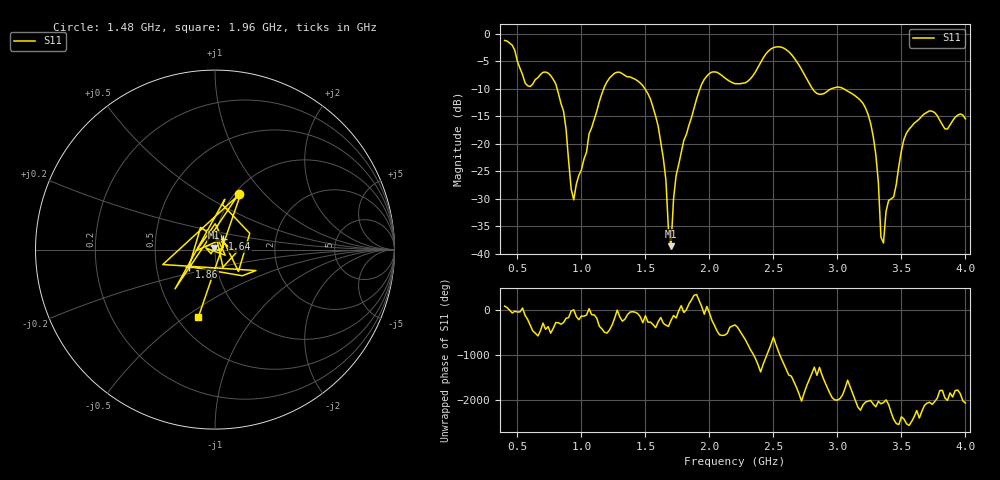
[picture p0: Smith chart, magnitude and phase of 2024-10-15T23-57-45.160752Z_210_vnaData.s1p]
! Created with skrf (http://scikit-rf.org).
# Hz S RI R 50.0
!freq ReS11 ImS11
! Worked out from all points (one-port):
!   181 points, 400 MHz to 4 GHz, reference 50 ohm
!   lowest |S11| = -38.6 dB at 1.7 GHz (marker M1), VSWR 1.02, Z = 49.4 + j1.01 ohm
!   |S11| at or under -10 dB: 810.5 MHz to 1.174 GHz (363.3 MHz wide, 36.6 % of centre); 1.497 GHz to 1.926 GHz (429.5 MHz wide, 25.1 % of centre); 3.05 GHz to end of sweep (the widest 3 of 4)
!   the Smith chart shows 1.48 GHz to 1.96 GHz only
!   S11 on the Smith chart (normalised r, x): 1.48 GHz: 1.04, +0.73; 1.64 GHz: 1.08, +0.13; 1.86 GHz: 0.74, -0.14; 1.96 GHz: 0.64, -0.56
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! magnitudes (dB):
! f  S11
! 400 MHz  -1.2
! 580 MHz  -9.4
! 760 MHz  -7.6
! 860 MHz  -14.0
! 940 MHz  -30.2
! 1.16 GHz  -10.9
! 1.3 GHz  -7.0
! 1.48 GHz  -9.4
! 1.58 GHz  -15.0
! 1.64 GHz  -22.6
! 1.7 GHz  -38.6
! 1.72 GHz  -30.0
! 1.76 GHz  -23.8
! 1.86 GHz  -15.2
! 1.96 GHz  -8.3
! 2.2 GHz  -9.0
! 2.5 GHz  -2.5
! 2.66 GHz  -4.3
! 2.84 GHz  -10.8
! 3.1 GHz  -10.7
! 3.26 GHz  -16.3
! 3.32 GHz  -27.0
! 3.34 GHz  -37.0
! 3.36 GHz  -38.1
! 3.38 GHz  -32.3
! 3.56 GHz  -17.3
! 3.72 GHz  -14.0
! 4 GHz  -15.5
